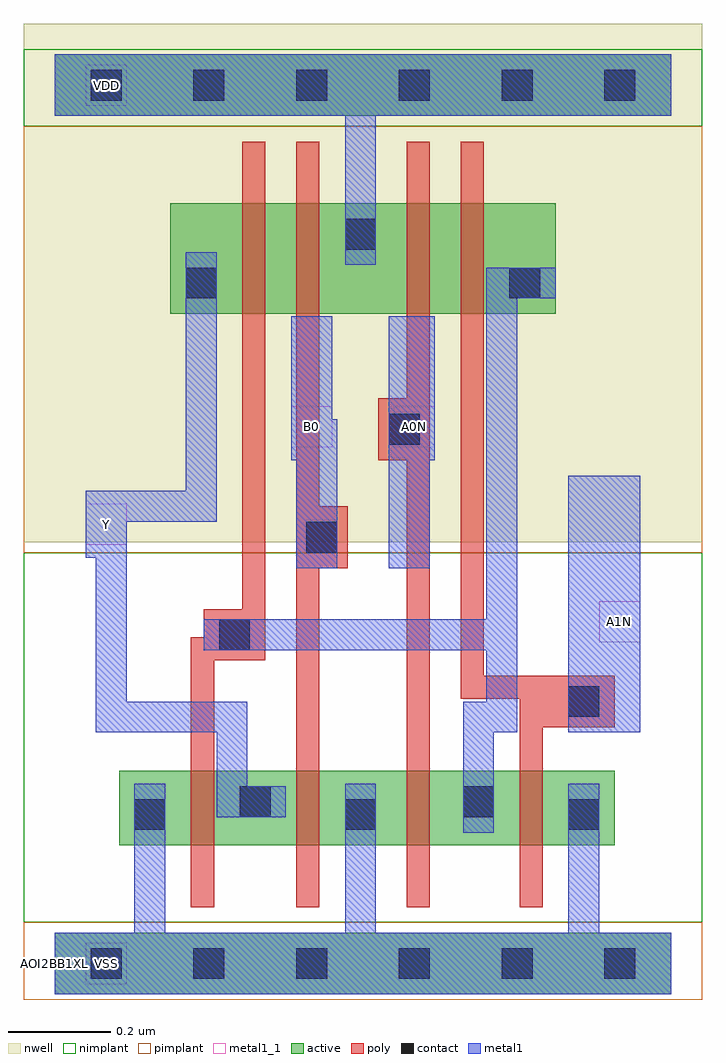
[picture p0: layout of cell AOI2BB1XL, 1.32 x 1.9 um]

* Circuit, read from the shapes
.subckt AOI2BB1XL A0N A1N B0 VDD VSS Y
M1 Y n1 VSS VSS nfet w=0.145u l=0.045u
M2 VSS B0 Y VSS nfet w=0.145u l=0.045u
M3 n1 A0N VSS VSS nfet w=0.145u l=0.045u
M4 VSS A1N n1 VSS nfet w=0.145u l=0.045u
M5 n2 n1 Y VDD pfet w=0.215u l=0.045u
M6 VDD B0 n2 VDD pfet w=0.215u l=0.045u
M7 n3 A0N VDD VDD pfet w=0.215u l=0.045u
M8 n1 A1N n3 VDD pfet w=0.215u l=0.045u
.ends

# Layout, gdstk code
import gdstk
lib = gdstk.Library(unit=1e-6, precision=5e-10)
def R(c, l, rs):  # rectangles x0, y0, x1, y1
    for r in rs: c.add(gdstk.rectangle(r[:2], r[2:], *l))
def A(c, l, x, y, w, h, nx, ny, dx, dy):  # array of equal rectangles
    R(c, l, [(x+i*dx, y+j*dy, x+i*dx+w, y+j*dy+h) for i in range(nx) for j in range(ny)])
def P(c, l, *ps):  # polygons
    for p in ps: c.add(gdstk.Polygon(p, *l))
active = (1, 0)
nwell = (2, 0)
poly = (3, 0)
nimplant = (4, 0)
pimplant = (5, 0)
contact = (6, 0)
metal1 = (7, 0)
metal1_1 = (7, 1)

aoi2bb1xl = lib.new_cell('AOI2BB1XL')
R(aoi2bb1xl, active, [(0,-0.06,1.2,0.06), (0.125,0.23,1.09,0.375), (0.225,1.265,0.975,1.48), (0,1.65,1.2,1.77)])
R(aoi2bb1xl, nwell, [(-0.06,0.82,1.26,1.83)])
P(aoi2bb1xl, poly, [(0.365,1.6),(0.41,1.6),(0.41,0.59),(0.31,0.59),(0.31,0.11),(0.265,0.11),(0.265,0.635),(0.29,0.635),(0.29,0.69),(0.365,0.69)],
  [(0.47,1.6),(0.515,1.6),(0.515,0.89),(0.57,0.89),(0.57,0.77),(0.515,0.77),(0.515,0.11),(0.47,0.11)],
  [(0.685,1.6),(0.73,1.6),(0.73,0.11),(0.685,0.11),(0.685,0.98),(0.63,0.98),(0.63,1.1),(0.685,1.1)],
  [(0.79,1.6),(0.835,1.6),(0.835,0.56),(1.09,0.56),(1.09,0.46),(0.95,0.46),(0.95,0.11),(0.905,0.11),(0.905,0.515),(0.79,0.515)])
R(aoi2bb1xl, nimplant, [(-0.06,0.08,1.26,0.8), (-0.06,1.63,1.26,1.78)])
R(aoi2bb1xl, pimplant, [(-0.06,-0.07,1.26,0.08), (-0.06,0.8,1.26,1.63)])
A(aoi2bb1xl, contact, 0.07, -0.03, 0.06, 0.06, 6, 2, 0.2, 1.71)
R(aoi2bb1xl, contact, [(0.155,0.26,0.215,0.32), (0.565,0.26,0.625,0.32), (1,0.26,1.06,0.32), (0.36,0.285,0.42,0.345), (0.795,0.285,0.855,0.345), (1,0.48,1.06,0.54), (0.32,0.61,0.38,0.67), (0.49,0.8,0.55,0.86), (0.65,1.01,0.71,1.07), (0.255,1.295,0.315,1.355), (0.885,1.295,0.945,1.355), (0.565,1.39,0.625,1.45)])
R(aoi2bb1xl, metal1, [(1,0.45,1.14,0.95)])
P(aoi2bb1xl, metal1, [(0,1.77),(1.2,1.77),(1.2,1.65),(0.625,1.65),(0.625,1.36),(0.565,1.36),(0.565,1.65),(0,1.65)],
  [(0.255,1.385),(0.315,1.385),(0.315,0.86),(0.14,0.86),(0.14,0.51),(0.375,0.51),(0.375,0.345),(0.45,0.345),(0.45,0.285),(0.315,0.285),(0.315,0.45),(0.08,0.45),(0.08,0.79),(0.06,0.79),(0.06,0.92),(0.255,0.92)],
  [(0.84,1.355),(0.975,1.355),(0.975,1.295),(0.9,1.295),(0.9,0.45),(0.855,0.45),(0.855,0.255),(0.795,0.255),(0.795,0.51),(0.84,0.51),(0.84,0.61),(0.29,0.61),(0.29,0.67),(0.84,0.67)],
  [(0.46,1.26),(0.54,1.26),(0.54,1.06),(0.55,1.06),(0.55,0.77),(0.47,0.77),(0.47,0.98),(0.46,0.98)],
  [(0.65,1.26),(0.74,1.26),(0.74,0.98),(0.73,0.98),(0.73,0.77),(0.65,0.77)],
  [(0.155,0.35),(0.215,0.35),(0.215,0.06),(0.565,0.06),(0.565,0.35),(0.625,0.35),(0.625,0.06),(1,0.06),(1,0.35),(1.06,0.35),(1.06,0.06),(1.2,0.06),(1.2,-0.06),(0,-0.06),(0,0.06),(0.155,0.06)])
A(aoi2bb1xl, metal1_1, 0.06, -0.04, 0.08, 0.08, 1, 3, 0, 0.855)
R(aoi2bb1xl, metal1_1, [(1.06,0.625,1.14,0.705), (0.46,1.005,0.54,1.085), (0.66,1.005,0.74,1.085)])
aoi2bb1xl.add(gdstk.Label('Y', (0.1,0.855), layer=7, texttype=1))
aoi2bb1xl.add(gdstk.Label('B0', (0.5,1.045), layer=7, texttype=1))
aoi2bb1xl.add(gdstk.Label('A0N', (0.7,1.045), layer=7, texttype=1))
aoi2bb1xl.add(gdstk.Label('A1N', (1.1,0.665), layer=7, texttype=1))
aoi2bb1xl.add(gdstk.Label('VDD', (0.1,1.71), layer=7, texttype=1))
aoi2bb1xl.add(gdstk.Label('VSS', (0.1,0), layer=7, texttype=1))
aoi2bb1xl.add(gdstk.Label('AOI2BB1XL', (0,0), layer=63, texttype=0))

lib.write_gds('AOI2BB1XL.gds')
